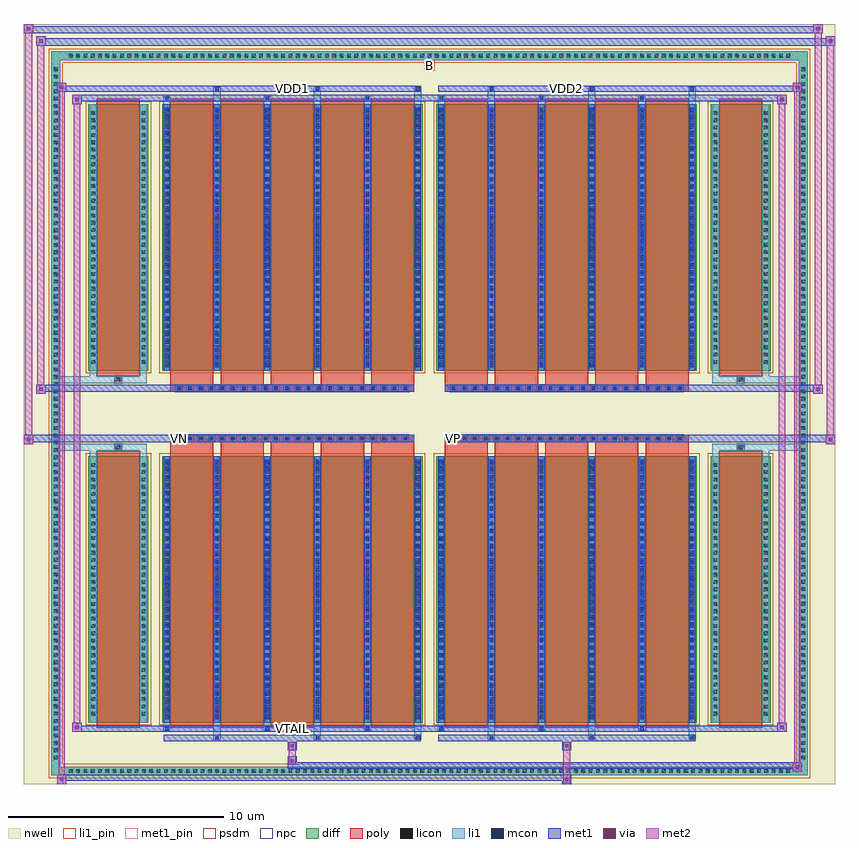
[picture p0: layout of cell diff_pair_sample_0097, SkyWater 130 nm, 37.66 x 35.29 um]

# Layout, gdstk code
import gdstk
lib = gdstk.Library(unit=1e-6, precision=5e-09)
def R(c, l, rs):  # rectangles x0, y0, x1, y1
    for r in rs: c.add(gdstk.rectangle(r[:2], r[2:], *l))
def A(c, l, x, y, w, h, nx, ny, dx, dy):  # array of equal rectangles
    R(c, l, [(x+i*dx, y+j*dy, x+i*dx+w, y+j*dy+h) for i in range(nx) for j in range(ny)])
def P(c, l, *ps):  # polygons
    for p in ps: c.add(gdstk.Polygon(p, *l))
nwell = (64, 20)
diff = (65, 20)
poly = (66, 20)
licon = (66, 44)
li1_pin = (67, 16)
li1 = (67, 20)
mcon = (67, 44)
met1_pin = (68, 16)
met1 = (68, 20)
via = (68, 44)
met2 = (69, 20)
psdm = (94, 20)
npc = (95, 20)

diff_pair_sample_0097 = lib.new_cell('diff_pair_sample_0097')
R(diff_pair_sample_0097, nwell, [(-18.83,-17.21,18.83,18.08), (-16.15,-15.4,-0.01,-0.8), (0.01,-15.4,16.15,-0.8), (-16.15,0.8,-0.01,15.4), (0.01,0.8,16.15,15.4)])
A(diff_pair_sample_0097, diff, -16.865, -16.81, 0.41, 0.41, 99, 2, 0.34, 33.21)
A(diff_pair_sample_0097, diff, -17.56, -16.185, 0.41, 0.41, 1, 95, 0, 0.34)
A(diff_pair_sample_0097, diff, 17.15, -16.185, 0.41, 0.41, 1, 95, 0, 0.34)
R(diff_pair_sample_0097, diff, [(-16.865,-16.81,16.865,-16.4), (-17.56,-16.185,-17.15,16.185), (17.15,-16.185,17.56,16.185), (-15.84,-14.355,-13.06,-1.985), (-12.42,-14.355,-0.32,-1.985), (0.32,-14.355,12.42,-1.985), (13.06,-14.355,15.84,-1.985), (-15.84,1.985,-13.06,14.355), (-12.42,1.985,-0.32,14.355), (0.32,1.985,12.42,14.355), (13.06,1.985,15.84,14.355), (-16.865,16.4,16.865,16.81)])
P(diff_pair_sample_0097, diff, [(17.56,16.81),(-17.56,16.81),(-17.56,-16.4),(-17.15,-16.4),(-17.15,16.4),(17.15,16.4),(17.15,-16.4),(-17.15,-16.4),(-17.56,-16.4),(-17.56,-16.81),(17.56,-16.81)])
A(diff_pair_sample_0097, poly, -12.03, -14.605, 2, 12.87, 5, 2, 2.33, 16.34)
A(diff_pair_sample_0097, poly, 0.71, -14.605, 2, 12.87, 5, 2, 2.33, 16.34)
A(diff_pair_sample_0097, poly, -12.03, -1.735, 2, 0.405, 5, 2, 2.33, 3.065)
A(diff_pair_sample_0097, poly, 0.71, -1.735, 2, 0.405, 5, 2, 2.33, 3.065)
A(diff_pair_sample_0097, poly, -11.785, -1.33, 0.33, 0.33, 22, 2, 0.5, 2.33)
A(diff_pair_sample_0097, poly, 0.955, -1.33, 0.33, 0.33, 22, 2, 0.5, 2.33)
R(diff_pair_sample_0097, poly, [(-15.45,-14.605,-13.45,-1.735), (13.45,-14.605,15.45,-1.735), (-14.615,-1.735,-14.285,-1.405), (-14.615,-1.735,-14.285,-1.405), (14.285,-1.735,14.615,-1.405), (14.285,-1.735,14.615,-1.405), (-12.03,-1.33,-0.71,-1), (0.71,-1.33,12.03,-1), (-12.03,1,-0.71,1.33), (0.71,1,12.03,1.33), (-14.615,1.405,-14.285,1.735), (-14.615,1.405,-14.285,1.735), (14.285,1.405,14.615,1.735), (14.285,1.405,14.615,1.735), (-15.45,1.735,-13.45,14.605), (13.45,1.735,15.45,14.605)])
A(diff_pair_sample_0097, licon, -16.745, -16.69, 0.17, 0.17, 99, 2, 0.34, 33.21)
A(diff_pair_sample_0097, licon, -17.44, -16.065, 0.17, 0.17, 1, 95, 0, 0.34)
A(diff_pair_sample_0097, licon, 17.27, -16.065, 0.17, 0.17, 1, 95, 0, 0.34)
A(diff_pair_sample_0097, licon, -15.7, -14.035, 0.17, 0.17, 1, 35, 0, 0.34)
A(diff_pair_sample_0097, licon, -13.37, -14.035, 0.17, 0.17, 1, 35, 0, 0.34)
A(diff_pair_sample_0097, licon, -12.28, -14.035, 0.17, 0.17, 6, 35, 2.33, 0.34)
A(diff_pair_sample_0097, licon, 0.46, -14.035, 0.17, 0.17, 6, 35, 2.33, 0.34)
A(diff_pair_sample_0097, licon, 13.2, -14.035, 0.17, 0.17, 1, 35, 0, 0.34)
A(diff_pair_sample_0097, licon, 15.53, -14.035, 0.17, 0.17, 1, 35, 0, 0.34)
A(diff_pair_sample_0097, licon, -11.705, -1.25, 0.17, 0.17, 22, 2, 0.5, 2.33)
A(diff_pair_sample_0097, licon, 1.035, -1.25, 0.17, 0.17, 22, 2, 0.5, 2.33)
A(diff_pair_sample_0097, licon, -15.7, 2.305, 0.17, 0.17, 1, 35, 0, 0.34)
A(diff_pair_sample_0097, licon, -13.37, 2.305, 0.17, 0.17, 1, 35, 0, 0.34)
A(diff_pair_sample_0097, licon, -12.28, 2.305, 0.17, 0.17, 6, 35, 2.33, 0.34)
A(diff_pair_sample_0097, licon, 0.46, 2.305, 0.17, 0.17, 6, 35, 2.33, 0.34)
A(diff_pair_sample_0097, licon, 13.2, 2.305, 0.17, 0.17, 1, 35, 0, 0.34)
A(diff_pair_sample_0097, licon, 15.53, 2.305, 0.17, 0.17, 1, 35, 0, 0.34)
R(diff_pair_sample_0097, licon, [(-14.535,-1.655,-14.365,-1.485), (14.365,-1.655,14.535,-1.485), (-14.535,1.485,-14.365,1.655), (14.365,1.485,14.535,1.655)])
R(diff_pair_sample_0097, li1_pin, [(-0.25,15.9,0.25,16.4)])
A(diff_pair_sample_0097, li1, -16.825, -16.77, 0.33, 0.33, 99, 2, 0.34, 33.21)
A(diff_pair_sample_0097, li1, -17.52, -16.145, 0.33, 0.33, 1, 95, 0, 0.34)
A(diff_pair_sample_0097, li1, 17.19, -16.145, 0.33, 0.33, 1, 95, 0, 0.34)
A(diff_pair_sample_0097, li1, -10.03, -15.16, 0.33, 0.805, 3, 2, 4.66, 29.515)
A(diff_pair_sample_0097, li1, -9.95, -15.16, 0.17, 0.17, 3, 2, 4.66, 30.15)
A(diff_pair_sample_0097, li1, 2.71, -15.16, 0.33, 0.805, 3, 2, 4.66, 29.515)
A(diff_pair_sample_0097, li1, 2.79, -15.16, 0.17, 0.17, 3, 2, 4.66, 30.15)
A(diff_pair_sample_0097, li1, -12.36, -14.73, 0.33, 0.375, 3, 2, 4.66, 29.085)
A(diff_pair_sample_0097, li1, -12.28, -14.73, 0.17, 0.17, 3, 2, 4.66, 29.29)
A(diff_pair_sample_0097, li1, 0.38, -14.73, 0.33, 0.375, 3, 2, 4.66, 29.085)
A(diff_pair_sample_0097, li1, 0.46, -14.73, 0.17, 0.17, 3, 2, 4.66, 29.29)
A(diff_pair_sample_0097, li1, -12.36, -14.355, 0.33, 12.37, 6, 2, 2.33, 16.34)
A(diff_pair_sample_0097, li1, 0.38, -14.355, 0.33, 12.37, 6, 2, 2.33, 16.34)
A(diff_pair_sample_0097, li1, -12.28, -14.195, 0.17, 0.17, 6, 34, 2.33, 0.36)
A(diff_pair_sample_0097, li1, -12.28, -14.195, 0.17, 12.05, 6, 2, 2.33, 16.34)
A(diff_pair_sample_0097, li1, 0.46, -14.195, 0.17, 0.17, 6, 34, 2.33, 0.36)
A(diff_pair_sample_0097, li1, 0.46, -14.195, 0.17, 12.05, 6, 2, 2.33, 16.34)
A(diff_pair_sample_0097, li1, -15.78, -14.115, 0.33, 0.33, 1, 35, 0, 0.34)
A(diff_pair_sample_0097, li1, -13.45, -14.115, 0.33, 0.33, 1, 35, 0, 0.34)
A(diff_pair_sample_0097, li1, -12.36, -14.115, 0.33, 0.33, 6, 35, 2.33, 0.34)
A(diff_pair_sample_0097, li1, 0.38, -14.115, 0.33, 0.33, 6, 35, 2.33, 0.34)
A(diff_pair_sample_0097, li1, 13.12, -14.115, 0.33, 0.33, 1, 35, 0, 0.34)
A(diff_pair_sample_0097, li1, 15.45, -14.115, 0.33, 0.33, 1, 35, 0, 0.34)
A(diff_pair_sample_0097, li1, -11.785, -1.33, 0.33, 0.33, 22, 2, 0.5, 2.33)
A(diff_pair_sample_0097, li1, 0.955, -1.33, 0.33, 0.33, 22, 2, 0.5, 2.33)
A(diff_pair_sample_0097, li1, -12.28, 2.145, 0.17, 0.17, 6, 34, 2.33, 0.36)
A(diff_pair_sample_0097, li1, 0.46, 2.145, 0.17, 0.17, 6, 34, 2.33, 0.36)
A(diff_pair_sample_0097, li1, -15.78, 2.225, 0.33, 0.33, 1, 35, 0, 0.34)
A(diff_pair_sample_0097, li1, -13.45, 2.225, 0.33, 0.33, 1, 35, 0, 0.34)
A(diff_pair_sample_0097, li1, -12.36, 2.225, 0.33, 0.33, 6, 35, 2.33, 0.34)
A(diff_pair_sample_0097, li1, 0.38, 2.225, 0.33, 0.33, 6, 35, 2.33, 0.34)
A(diff_pair_sample_0097, li1, 13.12, 2.225, 0.33, 0.33, 1, 35, 0, 0.34)
A(diff_pair_sample_0097, li1, 15.45, 2.225, 0.33, 0.33, 1, 35, 0, 0.34)
R(diff_pair_sample_0097, li1, [(-17.56,-16.81,-17.15,-16.4), (-17.56,-16.81,-17.15,-16.4), (-17.15,-16.81,17.15,-16.4), (17.15,-16.81,17.56,-16.4), (17.15,-16.81,17.56,-16.4), (-17.56,-16.4,-17.15,16.4), (17.15,-16.4,17.56,16.4), (-15.78,-14.355,-15.45,-1.985), (-13.45,-14.355,-13.12,-1.985), (13.12,-14.355,13.45,-1.985), (15.45,-14.355,15.78,-1.985), (-15.78,-1.985,-15.45,-1.405), (-13.45,-1.985,-13.12,-1.405), (13.12,-1.985,13.45,-1.405), (15.45,-1.985,15.78,-1.405), (-17.56,-1.735,-14.615,-1.405), (-15.78,-1.735,-14.615,-1.405), (-14.615,-1.735,-14.285,-1.405), (-14.285,-1.735,-13.12,-1.405), (13.12,-1.735,14.285,-1.405), (14.285,-1.735,14.615,-1.405), (14.285,-1.735,17.56,-1.405), (14.615,-1.735,15.78,-1.405), (-17.56,1.405,-14.615,1.735), (-15.78,1.405,-14.615,1.735), (-15.78,1.405,-15.45,1.985), (-14.615,1.405,-14.285,1.735), (-14.285,1.405,-13.12,1.735), (-13.45,1.405,-13.12,1.985), (13.12,1.405,14.285,1.735), (13.12,1.405,13.45,1.985), (14.285,1.405,14.615,1.735), (14.285,1.405,17.56,1.735), (14.615,1.405,15.78,1.735), (15.45,1.405,15.78,1.985), (-15.78,1.985,-15.45,14.355), (-13.45,1.985,-13.12,14.355), (13.12,1.985,13.45,14.355), (15.45,1.985,15.78,14.355), (-17.56,16.4,-17.15,16.81), (-17.56,16.4,-17.15,16.81), (-17.15,16.4,17.15,16.81), (17.15,16.4,17.56,16.81), (17.15,16.4,17.56,16.81)])
A(diff_pair_sample_0097, mcon, -9.95, -15.16, 0.17, 0.17, 3, 2, 4.66, 30.15)
A(diff_pair_sample_0097, mcon, 2.79, -15.16, 0.17, 0.17, 3, 2, 4.66, 30.15)
A(diff_pair_sample_0097, mcon, -12.28, -14.73, 0.17, 0.17, 3, 2, 4.66, 29.29)
A(diff_pair_sample_0097, mcon, 0.46, -14.73, 0.17, 0.17, 3, 2, 4.66, 29.29)
A(diff_pair_sample_0097, mcon, -12.28, -14.195, 0.17, 0.17, 6, 34, 2.33, 0.36)
A(diff_pair_sample_0097, mcon, 0.46, -14.195, 0.17, 0.17, 6, 34, 2.33, 0.36)
A(diff_pair_sample_0097, mcon, -11.705, -1.25, 0.17, 0.17, 22, 2, 0.5, 2.33)
A(diff_pair_sample_0097, mcon, 1.035, -1.25, 0.17, 0.17, 22, 2, 0.5, 2.33)
A(diff_pair_sample_0097, mcon, -12.28, 2.145, 0.17, 0.17, 6, 34, 2.33, 0.36)
A(diff_pair_sample_0097, mcon, 0.46, 2.145, 0.17, 0.17, 6, 34, 2.33, 0.36)
R(diff_pair_sample_0097, met1_pin, [(-6.505,-14.77,-6.235,-14.5), (-11.755,-1.29,-11.485,-1.02), (0.985,-1.29,1.255,-1.02), (-6.505,14.95,-6.235,15.22), (6.235,14.95,6.505,15.22)])
A(diff_pair_sample_0097, met1, -10.01, -15.22, 0.29, 0.29, 3, 2, 4.66, 30.15)
A(diff_pair_sample_0097, met1, 2.73, -15.22, 0.29, 0.29, 3, 2, 4.66, 30.15)
A(diff_pair_sample_0097, met1, -12.34, -14.79, 0.29, 0.29, 3, 2, 4.66, 29.29)
A(diff_pair_sample_0097, met1, 0.4, -14.79, 0.29, 0.29, 3, 2, 4.66, 29.29)
A(diff_pair_sample_0097, met1, -12.34, -14.355, 0.29, 12.37, 6, 2, 2.33, 16.34)
A(diff_pair_sample_0097, met1, 0.4, -14.355, 0.29, 12.37, 6, 2, 2.33, 16.34)
A(diff_pair_sample_0097, met1, -12.34, -14.255, 0.29, 0.29, 6, 34, 2.33, 0.36)
A(diff_pair_sample_0097, met1, 0.4, -14.255, 0.29, 0.29, 6, 34, 2.33, 0.36)
A(diff_pair_sample_0097, met1, -11.765, -1.31, 0.29, 0.29, 22, 2, 0.5, 2.33)
A(diff_pair_sample_0097, met1, 0.975, -1.31, 0.29, 0.29, 22, 2, 0.5, 2.33)
A(diff_pair_sample_0097, met1, -12.34, 2.085, 0.29, 0.29, 6, 34, 2.33, 0.36)
A(diff_pair_sample_0097, met1, 0.4, 2.085, 0.29, 0.29, 6, 34, 2.33, 0.36)
R(diff_pair_sample_0097, met1, [(-17.29,-17.21,-16.86,-16.78), (6.155,-17.21,6.585,-16.78), (-17.29,-17.07,6.585,-16.78), (16.86,-16.64,17.29,-16.21), (-6.585,-16.5,17.29,-16.21), (-6.585,-16.36,-6.155,-15.93), (-6.585,-15.65,-6.155,-15.22), (6.155,-15.65,6.585,-15.22), (-12.34,-15.22,-0.4,-14.93), (0.4,-15.22,12.34,-14.93), (-16.58,-14.79,-16.15,-14.36), (-16.58,-14.79,-12.34,-14.5), (-12.34,-14.79,-0.4,-14.5), (-0.4,-14.79,0.4,-14.5), (0.4,-14.79,12.34,-14.5), (12.34,-14.79,16.58,-14.5), (16.15,-14.79,16.58,-14.36), (-18.83,-1.43,-18.4,-1), (18.4,-1.43,18.83,-1), (-18.83,-1.33,-0.71,-1), (-12.03,-1.33,-0.71,-1), (0.71,-1.33,12.03,-1), (0.71,-1.33,18.83,-1), (-18.26,0.9,-17.83,1.33), (17.83,0.9,18.26,1.33), (-18.26,1,-12.03,1.33), (-12.03,1,-0.71,1.33), (0.71,1,12.03,1.33), (12.03,1,18.26,1.33), (-16.58,14.36,-16.15,14.79), (16.15,14.36,16.58,14.79), (-16.58,14.5,-12.34,14.79), (-12.34,14.5,-0.4,14.79), (-0.4,14.5,0.4,14.79), (0.4,14.5,12.34,14.79), (12.34,14.5,16.58,14.79), (-17.29,14.93,-16.86,15.36), (-17.29,14.93,-12.34,15.22), (-12.34,14.93,-0.4,15.22), (0.4,14.93,12.34,15.22), (12.34,14.93,17.29,15.22), (16.86,14.93,17.29,15.36), (-18.26,17.08,-17.83,17.51), (-18.26,17.08,-16.15,17.41), (-16.15,17.08,16.15,17.41), (16.15,17.08,18.83,17.41), (18.4,17.08,18.83,17.51), (-18.83,17.65,-18.4,18.08), (-18.83,17.65,-16.15,17.98), (-16.15,17.65,16.15,17.98), (16.15,17.65,18.26,17.98), (17.83,17.65,18.26,18.08)])
R(diff_pair_sample_0097, via, [(-17.15,-17.07,-17,-16.92), (6.295,-17.07,6.445,-16.92), (17,-16.5,17.15,-16.35), (-6.445,-16.22,-6.295,-16.07), (-6.445,-15.51,-6.295,-15.36), (6.295,-15.51,6.445,-15.36), (-16.44,-14.65,-16.29,-14.5), (16.29,-14.65,16.44,-14.5), (-18.69,-1.29,-18.54,-1.14), (18.54,-1.29,18.69,-1.14), (-18.12,1.04,-17.97,1.19), (17.97,1.04,18.12,1.19), (-16.44,14.5,-16.29,14.65), (16.29,14.5,16.44,14.65), (-17.15,15.07,-17,15.22), (17,15.07,17.15,15.22), (-18.12,17.22,-17.97,17.37), (18.54,17.22,18.69,17.37), (-18.69,17.79,-18.54,17.94), (17.97,17.79,18.12,17.94)])
R(diff_pair_sample_0097, met2, [(-17.29,-17.21,-16.86,-16.78), (-17.22,-17.21,-16.93,15.36), (-16.93,-17.21,-16.86,-16.78), (-17.24,-17.16,-16.91,-16.83), (6.205,-17.16,6.535,-16.83), (6.205,-16.83,6.535,-15.6), (16.86,-16.64,17.29,-16.21), (16.93,-16.64,17.22,15.36), (17.22,-16.64,17.29,-16.21), (16.91,-16.59,17.24,-16.26), (-6.535,-16.31,-6.205,-15.98), (-6.535,-15.98,-6.205,-15.6), (-6.535,-15.6,-6.205,-15.27), (6.205,-15.6,6.535,-15.27), (-16.58,-14.79,-16.15,-14.36), (-16.51,-14.79,-16.22,14.79), (-16.22,-14.79,-16.15,-14.36), (16.15,-14.79,16.58,-14.36), (16.22,-14.79,16.51,14.79), (16.51,-14.79,16.58,-14.36), (-16.53,-14.74,-16.2,-14.41), (16.2,-14.74,16.53,-14.41), (-18.83,-1.43,-18.4,-1), (-18.78,-1.43,-18.45,18.08), (-18.45,-1.43,-18.4,-1), (18.4,-1.43,18.83,-1), (18.45,-1.43,18.78,17.51), (18.78,-1.43,18.83,-1), (-18.78,-1.38,-18.45,-1.05), (18.45,-1.38,18.78,-1.05), (-18.26,0.9,-17.83,1.33), (-18.21,0.9,-17.88,17.51), (-17.88,0.9,-17.83,1.33), (17.83,0.9,18.26,1.33), (17.88,0.9,18.21,18.08), (18.21,0.9,18.26,1.33), (-18.21,0.95,-17.88,1.28), (17.88,0.95,18.21,1.28), (-16.58,14.36,-16.15,14.79), (-16.22,14.36,-16.15,14.79), (16.15,14.36,16.58,14.79), (16.51,14.36,16.58,14.79), (-16.53,14.41,-16.2,14.74), (16.2,14.41,16.53,14.74), (-17.29,14.93,-16.86,15.36), (-16.93,14.93,-16.86,15.36), (16.86,14.93,17.29,15.36), (17.22,14.93,17.29,15.36), (-17.24,14.98,-16.91,15.31), (16.91,14.98,17.24,15.31), (-18.26,17.08,-17.83,17.51), (-17.88,17.08,-17.83,17.51), (18.4,17.08,18.83,17.51), (18.78,17.08,18.83,17.51), (-18.21,17.13,-17.88,17.46), (18.45,17.13,18.78,17.46), (-18.83,17.65,-18.4,18.08), (-18.45,17.65,-18.4,18.08), (17.83,17.65,18.26,18.08), (18.21,17.65,18.26,18.08), (-18.78,17.7,-18.45,18.03), (17.88,17.7,18.21,18.03)])
R(diff_pair_sample_0097, psdm, [(-15.97,-14.485,-12.93,-1.855), (-12.55,-14.485,-0.19,-1.855), (0.19,-14.485,12.55,-1.855), (12.93,-14.485,15.97,-1.855), (-15.97,1.855,-12.93,14.485), (-12.55,1.855,-0.19,14.485), (0.19,1.855,12.55,14.485), (12.93,1.855,15.97,14.485)])
P(diff_pair_sample_0097, psdm, [(17.69,16.94),(-17.69,16.94),(-17.69,-16.27),(-17.02,-16.27),(-17.02,16.27),(17.02,16.27),(17.02,-16.27),(-17.02,-16.27),(-17.69,-16.27),(-17.69,-16.94),(17.69,-16.94)])
A(diff_pair_sample_0097, npc, -11.805, -1.35, 0.37, 0.37, 22, 2, 0.5, 2.33)
A(diff_pair_sample_0097, npc, 0.935, -1.35, 0.37, 0.37, 22, 2, 0.5, 2.33)
R(diff_pair_sample_0097, npc, [(-14.635,-1.755,-14.265,-1.385), (14.265,-1.755,14.635,-1.385), (-11.805,-1.35,-10.935,-0.98), (-11.805,-1.35,-10.935,-0.98), (-11.305,-1.35,-10.435,-0.98), (-11.305,-1.35,-10.435,-0.98), (-10.805,-1.35,-9.935,-0.98), (-10.805,-1.35,-9.935,-0.98), (-10.305,-1.35,-9.435,-0.98), (-10.305,-1.35,-9.435,-0.98), (-9.805,-1.35,-8.935,-0.98), (-9.805,-1.35,-8.935,-0.98), (-9.305,-1.35,-8.435,-0.98), (-9.305,-1.35,-8.435,-0.98), (-8.805,-1.35,-7.935,-0.98), (-8.805,-1.35,-7.935,-0.98), (-8.305,-1.35,-7.435,-0.98), (-8.305,-1.35,-7.435,-0.98), (-7.805,-1.35,-6.935,-0.98), (-7.805,-1.35,-6.935,-0.98), (-7.305,-1.35,-6.435,-0.98), (-7.305,-1.35,-6.435,-0.98), (-6.805,-1.35,-5.935,-0.98), (-6.805,-1.35,-5.935,-0.98), (-6.305,-1.35,-5.435,-0.98), (-6.305,-1.35,-5.435,-0.98), (-5.805,-1.35,-4.935,-0.98), (-5.805,-1.35,-4.935,-0.98), (-5.305,-1.35,-4.435,-0.98), (-5.305,-1.35,-4.435,-0.98), (-4.805,-1.35,-3.935,-0.98), (-4.805,-1.35,-3.935,-0.98), (-4.305,-1.35,-3.435,-0.98), (-4.305,-1.35,-3.435,-0.98), (-3.805,-1.35,-2.935,-0.98), (-3.805,-1.35,-2.935,-0.98), (-3.305,-1.35,-2.435,-0.98), (-3.305,-1.35,-2.435,-0.98), (-2.805,-1.35,-1.935,-0.98), (-2.805,-1.35,-1.935,-0.98), (-2.305,-1.35,-1.435,-0.98), (-2.305,-1.35,-1.435,-0.98), (-1.805,-1.35,-0.935,-0.98), (-1.805,-1.35,-0.935,-0.98), (0.935,-1.35,1.805,-0.98), (0.935,-1.35,1.805,-0.98), (1.435,-1.35,2.305,-0.98), (1.435,-1.35,2.305,-0.98), (1.935,-1.35,2.805,-0.98), (1.935,-1.35,2.805,-0.98), (2.435,-1.35,3.305,-0.98), (2.435,-1.35,3.305,-0.98), (2.935,-1.35,3.805,-0.98), (2.935,-1.35,3.805,-0.98), (3.435,-1.35,4.305,-0.98), (3.435,-1.35,4.305,-0.98), (3.935,-1.35,4.805,-0.98), (3.935,-1.35,4.805,-0.98), (4.435,-1.35,5.305,-0.98), (4.435,-1.35,5.305,-0.98), (4.935,-1.35,5.805,-0.98), (4.935,-1.35,5.805,-0.98), (5.435,-1.35,6.305,-0.98), (5.435,-1.35,6.305,-0.98), (5.935,-1.35,6.805,-0.98), (5.935,-1.35,6.805,-0.98), (6.435,-1.35,7.305,-0.98), (6.435,-1.35,7.305,-0.98), (6.935,-1.35,7.805,-0.98), (6.935,-1.35,7.805,-0.98), (7.435,-1.35,8.305,-0.98), (7.435,-1.35,8.305,-0.98), (7.935,-1.35,8.805,-0.98), (7.935,-1.35,8.805,-0.98), (8.435,-1.35,9.305,-0.98), (8.435,-1.35,9.305,-0.98), (8.935,-1.35,9.805,-0.98), (8.935,-1.35,9.805,-0.98), (9.435,-1.35,10.305,-0.98), (9.435,-1.35,10.305,-0.98), (9.935,-1.35,10.805,-0.98), (9.935,-1.35,10.805,-0.98), (10.435,-1.35,11.305,-0.98), (10.435,-1.35,11.305,-0.98), (10.935,-1.35,11.805,-0.98), (10.935,-1.35,11.805,-0.98), (-11.805,0.98,-10.935,1.35), (-11.805,0.98,-10.935,1.35), (-11.305,0.98,-10.435,1.35), (-11.305,0.98,-10.435,1.35), (-10.805,0.98,-9.935,1.35), (-10.805,0.98,-9.935,1.35), (-10.305,0.98,-9.435,1.35), (-10.305,0.98,-9.435,1.35), (-9.805,0.98,-8.935,1.35), (-9.805,0.98,-8.935,1.35), (-9.305,0.98,-8.435,1.35), (-9.305,0.98,-8.435,1.35), (-8.805,0.98,-7.935,1.35), (-8.805,0.98,-7.935,1.35), (-8.305,0.98,-7.435,1.35), (-8.305,0.98,-7.435,1.35), (-7.805,0.98,-6.935,1.35), (-7.805,0.98,-6.935,1.35), (-7.305,0.98,-6.435,1.35), (-7.305,0.98,-6.435,1.35), (-6.805,0.98,-5.935,1.35), (-6.805,0.98,-5.935,1.35), (-6.305,0.98,-5.435,1.35), (-6.305,0.98,-5.435,1.35), (-5.805,0.98,-4.935,1.35), (-5.805,0.98,-4.935,1.35), (-5.305,0.98,-4.435,1.35), (-5.305,0.98,-4.435,1.35), (-4.805,0.98,-3.935,1.35), (-4.805,0.98,-3.935,1.35), (-4.305,0.98,-3.435,1.35), (-4.305,0.98,-3.435,1.35), (-3.805,0.98,-2.935,1.35), (-3.805,0.98,-2.935,1.35), (-3.305,0.98,-2.435,1.35), (-3.305,0.98,-2.435,1.35), (-2.805,0.98,-1.935,1.35), (-2.805,0.98,-1.935,1.35), (-2.305,0.98,-1.435,1.35), (-2.305,0.98,-1.435,1.35), (-1.805,0.98,-0.935,1.35), (-1.805,0.98,-0.935,1.35), (0.935,0.98,1.805,1.35), (0.935,0.98,1.805,1.35), (1.435,0.98,2.305,1.35), (1.435,0.98,2.305,1.35), (1.935,0.98,2.805,1.35), (1.935,0.98,2.805,1.35), (2.435,0.98,3.305,1.35), (2.435,0.98,3.305,1.35), (2.935,0.98,3.805,1.35), (2.935,0.98,3.805,1.35), (3.435,0.98,4.305,1.35), (3.435,0.98,4.305,1.35), (3.935,0.98,4.805,1.35), (3.935,0.98,4.805,1.35), (4.435,0.98,5.305,1.35), (4.435,0.98,5.305,1.35), (4.935,0.98,5.805,1.35), (4.935,0.98,5.805,1.35), (5.435,0.98,6.305,1.35), (5.435,0.98,6.305,1.35), (5.935,0.98,6.805,1.35), (5.935,0.98,6.805,1.35), (6.435,0.98,7.305,1.35), (6.435,0.98,7.305,1.35), (6.935,0.98,7.805,1.35), (6.935,0.98,7.805,1.35), (7.435,0.98,8.305,1.35), (7.435,0.98,8.305,1.35), (7.935,0.98,8.805,1.35), (7.935,0.98,8.805,1.35), (8.435,0.98,9.305,1.35), (8.435,0.98,9.305,1.35), (8.935,0.98,9.805,1.35), (8.935,0.98,9.805,1.35), (9.435,0.98,10.305,1.35), (9.435,0.98,10.305,1.35), (9.935,0.98,10.805,1.35), (9.935,0.98,10.805,1.35), (10.435,0.98,11.305,1.35), (10.435,0.98,11.305,1.35), (10.935,0.98,11.805,1.35), (10.935,0.98,11.805,1.35), (-14.635,1.385,-14.265,1.755), (14.265,1.385,14.635,1.755)])
diff_pair_sample_0097.add(gdstk.Label('VTAIL', (-6.37,-14.635), layer=68, texttype=5))
diff_pair_sample_0097.add(gdstk.Label('VN', (-11.62,-1.155), layer=68, texttype=5))
diff_pair_sample_0097.add(gdstk.Label('VP', (1.12,-1.155), layer=68, texttype=5))
diff_pair_sample_0097.add(gdstk.Label('B', (0,16.15), layer=67, texttype=5))
diff_pair_sample_0097.add(gdstk.Label('VDD2', (6.37,15.085), layer=68, texttype=5))
diff_pair_sample_0097.add(gdstk.Label('VDD1', (-6.37,15.085), layer=68, texttype=5))

lib.write_gds('diff_pair_sample_0097.gds')
